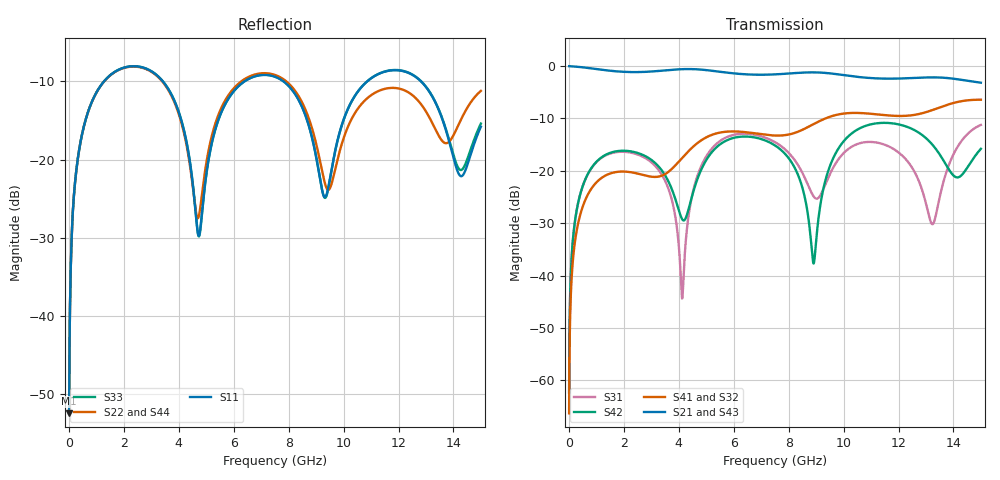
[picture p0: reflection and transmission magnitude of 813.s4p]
! Created with skrf 1.8.0 (http://scikit-rf.org).
# GHz S RI R 50.0
!freq ReS11 ImS11 ReS12 ImS12 ReS13 ImS13
! ReS14 ImS14
! ReS21 ImS21 ReS22 ImS22 ReS23 ImS23
! ReS24 ImS24
! ReS31 ImS31 ReS32 ImS32 ReS33 ImS33
! ReS34 ImS34
! ReS41 ImS41 ReS42 ImS42 ReS43 ImS43
! ReS44 ImS44
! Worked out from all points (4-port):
!   2499 points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, 5 MHz to 15 GHz, reference 50 ohm
!   strongest paths, dB at 5 MHz, 3.476 GHz, 7.19 GHz, 11.1 GHz, 15 GHz:
!     S21: 0.0, -0.8, -1.6, -2.3, -3.2
!     S43: 0.0, -0.8, -1.6, -2.3, -3.2
!     S41: -66.3, -20.7, -13.1, -9.2, -6.4
!     S32: -66.3, -20.7, -13.2, -9.2, -6.5
!     S42: -62.3, -20.6, -14.3, -11.0, -15.8
!     S31: -62.3, -21.6, -13.7, -14.5, -11.2
!   lowest |S11| = -52.4 dB at 5 MHz (marker M1), VSWR 1.00, Z = 50.2 + j0.145 ohm
!   |S11| at or under -10 dB: 3.414 GHz to 6.396 GHz (2.982 GHz wide, 60.8 % of centre); 7.804 GHz to 10.86 GHz (3.06 GHz wide, 32.8 % of centre); 12.81 GHz to end of sweep (the widest 3 of 4)
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0.005  0.0019 0.00145  0.9981 -0.0037  9.66e-05 0.000761  -9.39e-05 -0.000477
       0.9981 -0.0037  0.0019 0.00145  -9.39e-05 -0.000477  9.68e-05 0.000761
       9.66e-05 0.000761  -9.39e-05 -0.000477  0.0019 0.00145  0.9981 -0.0037
       -9.39e-05 -0.000477  9.68e-05 0.000761  0.9981 -0.0037  0.0019 0.00145
0.3126303  0.031 0.0937  0.9575 -0.2289  0.0143 0.0444  -0.0121 -0.0272
           0.9575 -0.2289  0.0309 0.0937  -0.0121 -0.0272  0.0149 0.0442
           0.0143 0.0444  -0.0121 -0.0272  0.031 0.0937  0.9575 -0.2289
           -0.0121 -0.0272  0.0149 0.0442  0.9575 -0.2289  0.0309 0.0937
1.369321  0.2793 0.1742  0.5319 -0.7388  0.1274 0.0627  -0.0914 -0.00352
          0.5319 -0.7388  0.2775 0.1755  -0.0913 -0.00361  0.1329 0.0549
          0.1274 0.0627  -0.0913 -0.00361  0.2794 0.1742  0.5319 -0.7388
          -0.0914 -0.00352  0.1329 0.0549  0.5319 -0.7388  0.2775 0.1756
4.120467  0.0882 -0.1454  -0.828 -0.4323  0.00582 0.00165  -0.0568 0.12
          -0.828 -0.4323  0.0944 -0.1356  -0.058 0.1194  -0.0292 -0.0185
          0.00582 0.00165  -0.058 0.1194  0.0884 -0.1467  -0.8277 -0.4324
          -0.0568 0.12  -0.0292 -0.0185  -0.8277 -0.4324  0.0955 -0.1365
5.477282  0.1315 0.1333  -0.7914 0.3939  0.1437 0.1257  0.1393 0.1847
          -0.7914 0.3939  0.1463 0.1366  0.1375 0.1858  0.1111 0.138
          0.1437 0.1257  0.1375 0.1858  0.1309 0.1326  -0.7915 0.3941
          0.1393 0.1847  0.1111 0.138  -0.7915 0.3941  0.146 0.1348
9.491455  0.0634 0.0379  0.8473 0.0979  -0.0327 0.0859  0.0215 -0.327
          0.8473 0.0979  0.0649 0.0031  0.0278 -0.3266  0.0605 0.0908
          -0.0327 0.0859  0.0278 -0.3266  0.0626 0.0364  0.8475 0.096
          0.0215 -0.327  0.0605 0.0908  0.8475 0.096  0.0656 0.000347
15  0.1444 0.0734  -0.6693 0.1827  0.2128 0.1736  0.1948 0.436
    -0.6693 0.1827  0.2578 0.0944  0.182 0.4379  0.1162 0.1136
    0.2128 0.1736  0.182 0.4379  0.1547 0.0698  -0.6677 0.1908
    0.1948 0.436  0.1162 0.1136  -0.6677 0.1908  0.2493 0.0889
